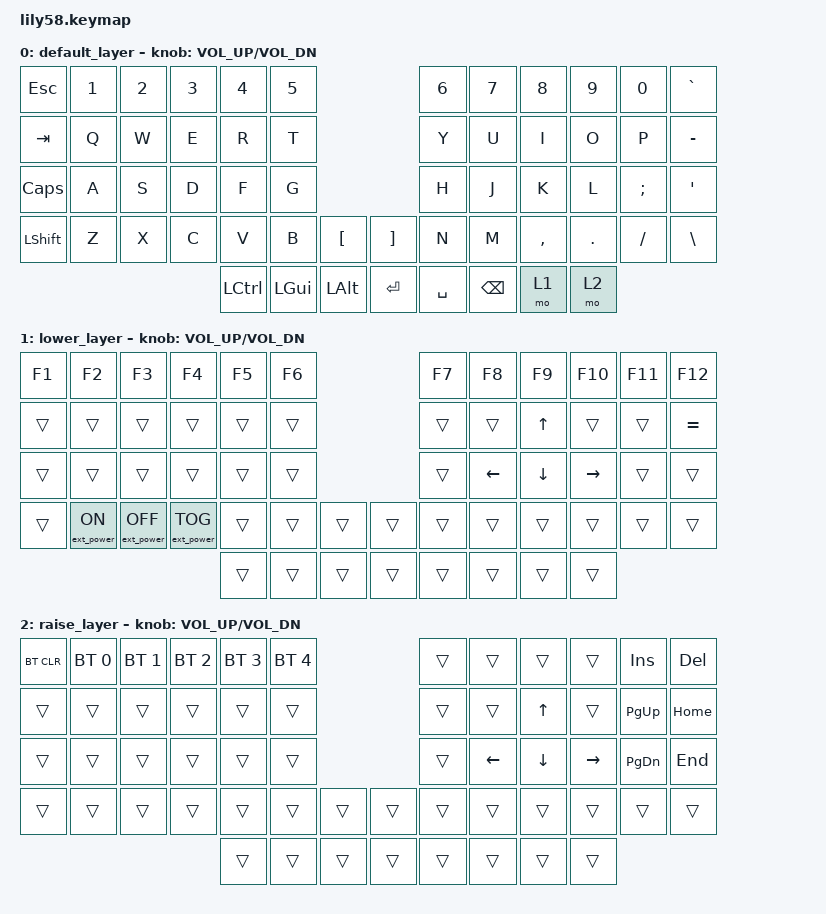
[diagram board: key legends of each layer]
/*
 * Copyright (c) 2020 The ZMK Contributors
 *
 * SPDX-License-Identifier: MIT
 */

#include <behaviors.dtsi>
#include <dt-bindings/zmk/bt.h>
#include <dt-bindings/zmk/ext_power.h>
#include <dt-bindings/zmk/keys.h>

/ {
    keymap {
        compatible = "zmk,keymap";

        default_layer {
            // ------------------------------------------------------------------------------------------------------------
            // |  ESC  |  1  |  2  |  3   |  4   |  5   |                   |  6   |  7    |  8    |  9   |   0   |   `   |
            // |  TAB  |  Q  |  W  |  E   |  R   |  T   |                   |  Y   |  U    |  I    |  O   |   P   |   -   |
            // |  CTRL |  A  |  S  |  D   |  F   |  G   |                   |  H   |  J    |  K    |  L   |   ;   |   '   |
            // | SHIFT |  Z  |  X  |  C   |  V   |  B   |   "["  |  |  "]"  |  N   |  M    |  ,    |  .   |   /   | SHIFT |
            //                     | ALT  | GUI  | LOWER|  SPACE |  | ENTER | RAISE| BSPC  | GUI   |

            bindings = <
     &kp ESC  &kp N1  &kp N2     &kp N3    &kp N4    &kp N5                               &kp N6  &kp N7     &kp N8   &kp N9    &kp N0      &kp GRAVE
     &kp TAB   &kp Q   &kp W      &kp E     &kp R     &kp T                                &kp Y   &kp U      &kp I    &kp O     &kp P      &kp MINUS
&kp CAPSLOCK   &kp A   &kp S      &kp D     &kp F     &kp G                                &kp H   &kp J      &kp K    &kp L  &kp SEMI        &kp SQT
   &kp LSHFT   &kp Z   &kp X      &kp C     &kp V     &kp B   &kp LBKT   &kp RBKT          &kp N   &kp M  &kp COMMA  &kp DOT  &kp FSLH  &kp BACKSLASH
                              &kp LCTRL  &kp LGUI  &kp LALT  &kp ENTER  &kp SPACE  &kp BACKSPACE   &mo 1      &mo 2
            >;

            sensor-bindings = <&inc_dec_kp C_VOL_UP C_VOL_DN>;
        };

        lower_layer {
            // ------------------------------------------------------------------------------------------------------------
            // | BTCLR | BT1 | BT2 |  BT3 |  BT4 |  BT5 |                   |      |       |       |      |       |       |
            // |  F1   |  F2 |  F3 |  F4  |  F5  |  F6  |                   |  F7  |  F8   |  F9   |  F10 |  F11  |  F12  |
            // |   `   |  !  |  @  |  #   |  $   |  %   |                   |  ^   |  &    |  *    |  (   |   )   |   ~   |
            // |       |     |     |      |      |      |        |  |       |      |  _    |  +    |  {   |   }   |  "|"  |
            //                     |      |      |      |        |  |       |      |       |       |

            bindings = <
&kp F1            &kp F2             &kp F3             &kp F4  &kp F5  &kp F6                  &kp F7    &kp F8    &kp F9    &kp F10  &kp F11    &kp F12
&trans            &trans             &trans             &trans  &trans  &trans                  &trans    &trans    &kp UP     &trans   &trans  &kp EQUAL
&trans            &trans             &trans             &trans  &trans  &trans                  &trans  &kp LEFT  &kp DOWN  &kp RIGHT   &trans     &trans
&trans  &ext_power EP_ON  &ext_power EP_OFF  &ext_power EP_TOG  &trans  &trans  &trans  &trans  &trans    &trans    &trans     &trans   &trans     &trans
                                                        &trans  &trans  &trans  &trans  &trans  &trans    &trans    &trans
            >;

            sensor-bindings = <&inc_dec_kp C_VOL_UP C_VOL_DN>;
        };

        raise_layer {
            // ------------------------------------------------------------------------------------------------------------
            // |       |     |     |      |      |      |                   |      |       |       |      |       |       |
            // |   `   |  1  |  2  |  3   |  4   |  5   |                   |  6   |   7   |   8   |  9   |   0   |       |
            // |   F1  |  F2 |  F3 |  F4  |  F5  |  F6  |                   |      |   <-  |   v   |  ^   |  ->   |       |
            // |   F7  |  F8 |  F9 |  F10 |  F11 |  F12 |        |  |       |  +   |   -   |   =   |  [   |   ]   |   \   |
            //                     |      |      |      |        |  |       |      |       |       |

            bindings = <
&bt BT_CLR  &bt BT_SEL 0  &bt BT_SEL 1  &bt BT_SEL 2  &bt BT_SEL 3  &bt BT_SEL 4                  &trans    &trans    &trans     &trans     &kp INSERT  &kp DELETE
    &trans        &trans        &trans        &trans        &trans        &trans                  &trans    &trans    &kp UP     &trans    &kp PAGE_UP    &kp HOME
    &trans        &trans        &trans        &trans        &trans        &trans                  &trans  &kp LEFT  &kp DOWN  &kp RIGHT  &kp PAGE_DOWN     &kp END
    &trans        &trans        &trans        &trans        &trans        &trans  &trans  &trans  &trans    &trans    &trans     &trans         &trans      &trans
                                              &trans        &trans        &trans  &trans  &trans  &trans    &trans    &trans
            >;

            sensor-bindings = <&inc_dec_kp C_VOL_UP C_VOL_DN>;
        };
    };
};
